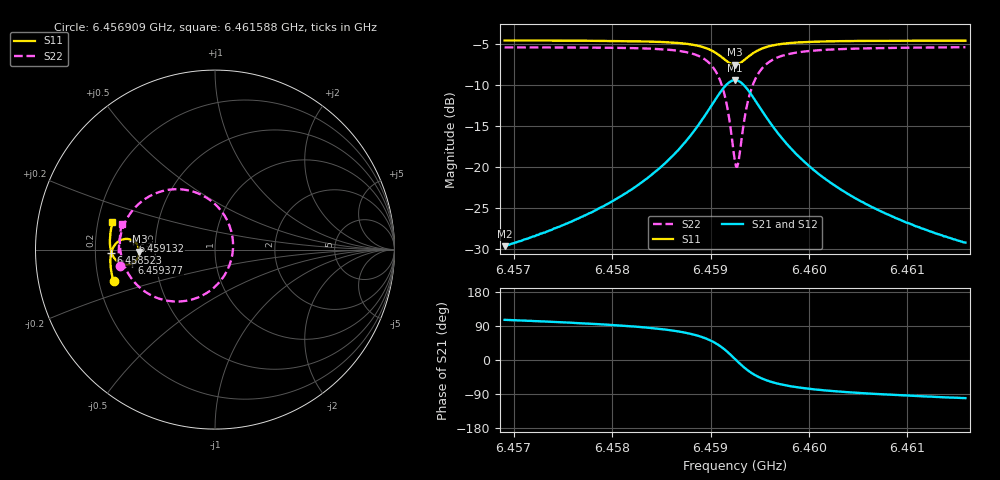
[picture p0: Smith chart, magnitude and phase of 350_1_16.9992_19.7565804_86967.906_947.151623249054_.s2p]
#  HZ  S  RI  R  50.00
! Rohde & Schwarz Vector Network Analyzer
! Rohde-Schwarz,ZNB20-2Port,1311601062101988,3.16
! Created: UTC 3/20/2024, 11:07:47 PM
! freq[Hz]  re:S11  im:S11  re:S21  im:S21  re:S12  im:S12  re:S22  im:S22
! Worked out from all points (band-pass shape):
!   401 points, 6.456909 GHz to 6.461588 GHz, reference 50 ohm
!   highest |S21| = -9.40 dB at 6.459249 GHz (marker M1); lowest = -29.6 dB at 6.456909 GHz (marker M2)
!   |S21| within 3 dB of the highest: 6.459015 GHz to 6.459483 GHz (467.7 kHz wide, 0.00724 % of centre)
!   lowest |S11| = -7.5 dB at 6.459249 GHz (marker M3), VSWR 2.46, Z = 20.4 - j0.592 ohm
!   |S11| at or under -10 dB: nowhere
!   |S22| runs from -20.0 to -5.4 dB; largest |S21 - S12| = 0.013
!   S11 on the Smith chart (normalised r, x): 6.456909 GHz: 0.26, -0.14; 6.458523 GHz: 0.27, -0.01; 6.459132 GHz: 0.37, +0.05; 6.459377 GHz: 0.36, -0.07; 6.461588 GHz: 0.26, +0.12
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6.4569094e9  -0.5649 -0.1776  -0.00908 0.0317  -0.00739 0.0316  -0.5294 -0.0901
6.4576931e9  -0.5799 -0.1094  -0.00599 0.0494  -0.00348 0.0488  -0.5359 2e-06
6.4581258e9  -0.5832 -0.0664  -0.000275 0.0685  0.00293 0.0673  -0.5286 0.0674
6.4584767e9  -0.5797 -0.025  0.0132 0.097  0.017 0.0941  -0.5044 0.1444
6.4585235e9  -0.5784 -0.0186  0.0165 0.1023  0.0206 0.0993  -0.4982 0.1575
6.458734e9  -0.5665 0.0132  0.042 0.1335  0.0461 0.1289  -0.4506 0.2285
6.4588861e9  -0.5458 0.0395  0.0838 0.1636  0.087 0.1571  -0.3739 0.2923
6.4590381e9  -0.5004 0.0593  0.1739 0.1827  0.175 0.1752  -0.2093 0.3365
6.4591317e9  -0.4565 0.0497  0.2623 0.1526  0.2626 0.1466  -0.0457 0.2884
6.4591785e9  -0.4357 0.0314  0.3054 0.1106  0.3065 0.1053  0.0359 0.2142
6.4592486e9  -0.421 -0.0119  0.3385 0.0157  0.3419 0.00884  0.1005 0.0386
6.4592603e9  -0.4214 -0.0197  0.3384 -0.00175  0.3421 -0.00926  0.1002 0.00565
6.4592837e9  -0.4247 -0.035  0.3332 -0.0359  0.3367 -0.0447  0.0897 -0.0587
6.4593305e9  -0.44 -0.0607  0.3055 -0.0948  0.3075 -0.1064  0.0341 -0.1698
6.4593773e9  -0.4617 -0.0767  0.2643 -0.1353  0.2636 -0.1481  -0.0488 -0.2435
6.4594709e9  -0.5042 -0.0832  0.1813 -0.1663  0.1754 -0.1775  -0.2137 -0.2895
6.4596229e9  -0.5474 -0.0629  0.0951 -0.1532  0.0868 -0.1591  -0.3779 -0.2418
6.4597984e9  -0.5696 -0.0334  0.0488 -0.1241  0.0415 -0.1268  -0.4607 -0.1668
6.4600323e9  -0.5812 0.000295  0.0222 -0.0953  0.0166 -0.0958  -0.5046 -0.0905
6.4603832e9  -0.5855 0.0414  0.00625 -0.069  0.00233 -0.0686  -0.526 -0.0121
6.4608159e9  -0.5836 0.0847  -0.00128 -0.0509  -0.00416 -0.05  -0.53 0.0556
6.4615879e9  -0.5711 0.1527  -0.00637 -0.034  -0.00816 -0.0331  -0.5188 0.1453
